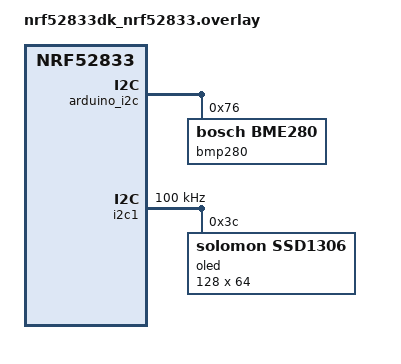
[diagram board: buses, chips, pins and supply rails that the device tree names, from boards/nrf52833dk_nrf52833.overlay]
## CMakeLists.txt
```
cmake_minimum_required(VERSION 3.20.0)
find_package(Zephyr REQUIRED HINTS $ENV{ZEPHYR_BASE})

project(project)

file(GLOB APP_SOURCES CONFIGURE_DEPENDS
    "${CMAKE_CURRENT_SOURCE_DIR}/src/*.c"
)

target_sources(app PRIVATE ${APP_SOURCES})
```

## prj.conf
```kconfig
CONFIG_GPIO=y
CONFIG_CONSOLE=y
CONFIG_SERIAL=y
CONFIG_STDOUT_CONSOLE=y
CONFIG_SENSOR=y
CONFIG_I2C=y
CONFIG_BME280=y
CONFIG_DISPLAY=y
CONFIG_SSD1306=y
CONFIG_CHARACTER_FRAMEBUFFER=y
# CFB allocates a 1024-byte buffer for the 128x64 monochrome display.
CONFIG_HEAP_MEM_POOL_SIZE=4096
#CONFIG_LOG=y
#CONFIG_DISPLAY_LOG_LEVEL_DBG=y
# Enable Bluetooth
CONFIG_BT=y
CONFIG_BT_PERIPHERAL=y
CONFIG_BT_DEVICE_NAME="TempSensor"
CONFIG_BT_MAX_CONN=1
CONFIG_BT_NUS=y
```

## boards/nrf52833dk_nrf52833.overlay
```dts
/*
 * BMP280 temperature sensor on the DK's Arduino I2C header.
 * "arduino_i2c" is a label for the chip's i2c0 controller; the board file
 * already enabled it with SDA=P0.26, SCL=P0.27. We only add the sensor node.
 *
 * File name matters: Zephyr auto-applies boards/<board>_<soc>.overlay, and our
 * board target is nrf52833dk/nrf52833 (slash -> underscore) => this file name.
 */
/ {
    chosen {
        zephyr,display = &oled;
    };
};

&arduino_i2c {
	status = "okay";

	bmp280@76 {
		compatible = "bosch,bme280";  /* Zephyr's driver for BOTH BMP280 and BME280 */
		reg = <0x76>;                 /* 0x76 if SDO->GND, 0x77 if SDO->3V3 */
	};
};
&spi1 {
    status = "disabled";
};

&i2c1 {
    status = "okay";
    clock-frequency = <100000>;

	oled: ssd1306@3c {
		compatible = "solomon,ssd1306";
		status = "okay";
		reg = <0x3c>;

		width = <128>;
		height = <64>;

		segment-offset = <0>;
		page-offset = <0>;
		display-offset = <0>;
		multiplex-ratio = <63>;

		segment-remap;
		com-invdir;
		prechargep = <0x22>;
	};
};
```

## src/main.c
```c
#include <zephyr/kernel.h>
#include <zephyr/drivers/gpio.h>
#include <stdio.h>

#include <zephyr/bluetooth/bluetooth.h>
#include <bluetooth/services/nus.h>

#include <errno.h>
#include "button.h"
#include "sensor.h"
#include "oled.h"
#include "ble.h"


static const struct gpio_dt_spec leds[] = {
	GPIO_DT_SPEC_GET(DT_ALIAS(led0), gpios),
	GPIO_DT_SPEC_GET(DT_ALIAS(led2), gpios),
	GPIO_DT_SPEC_GET(DT_ALIAS(led3), gpios),
};

int main(void)
{
	for (size_t i = 0; i < ARRAY_SIZE(leds); i++) {
		if (!gpio_is_ready_dt(&leds[i])) {
			printk("LED %u is not ready\n", (unsigned int)i);
			return 0;
		}

		int err = gpio_pin_configure_dt(&leds[i], GPIO_OUTPUT_INACTIVE);
		if (err < 0) {
			printk("LED initialization failed: %d\n", err);
			return 0;
		}
	}

	int err = button_init();
	if (err < 0) {
		printk("Button initialization failed: %d\n", err);
		return 0;
	}

	err = sensor_init();
	if (err < 0) {
		printk("Sensor initialization failed: %d\n", err);
		return 0;
	}

	err = oled_init();
	if (err < 0) {
		printk("Oled initialization failed: %d\n", err);
		return 0;
	}

	err = ble_init();
	if (err < 0) {
		printk("BLE initialization failed: %d\n", err);
		return 0;
	}

	struct sensor_value temperature;
	char text[32];

	while(1) {
		err = k_msgq_get(&temp_queue, &temperature, K_FOREVER);
		if (err != 0) {
			printk("Queue receive failed: %d\n", err);
			continue;
		}

		int hundredths = 
			(int) (sensor_value_to_micro(&temperature) / 10000);
		
		const char *sign = hundredths < 0 ? "-" : "";
		int magnitude = hundredths < 0 ? -hundredths : hundredths;

		snprintf(text, sizeof(text), "%s%d.%02d C",
			 sign, magnitude / 100, magnitude % 100);

		err = write_oled(text);
		if (err < 0) {
			printk("OLED write failed: %d\n", err);
		}

		err = ble_send_text(text);
		if (err < 0 && err != -EAGAIN) {
			printk("BLE send failed: %d\n", err);
		}
	}

	k_sleep(K_FOREVER);
	return 0;
}
```

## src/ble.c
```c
#include <zephyr/kernel.h>
#include <zephyr/bluetooth/bluetooth.h>
#include <bluetooth/services/nus.h>
#include <zephyr/bluetooth/conn.h>

#include <errno.h>
#include <string.h>
#include <zephyr/sys/atomic.h>
#include "ble.h"

static const struct bt_data advertising_data[] = {
    // Generally discoverable, bluetooth classic unsupported
	BT_DATA_BYTES(BT_DATA_FLAGS,
		      BT_LE_AD_GENERAL | BT_LE_AD_NO_BREDR),
	BT_DATA(BT_DATA_NAME_COMPLETE,
		CONFIG_BT_DEVICE_NAME,
		sizeof(CONFIG_BT_DEVICE_NAME) - 1),
};

static const struct bt_data scan_response[] = {
	BT_DATA_BYTES(BT_DATA_UUID128_ALL, BT_UUID_NUS_VAL),
};

static atomic_t notifications_enabled;
static atomic_t advertising_requested;

static int start_advertising(void)
{
	int err = bt_le_adv_start(
		BT_LE_ADV_CONN_FAST_2,
		advertising_data, ARRAY_SIZE(advertising_data),
		scan_response, ARRAY_SIZE(scan_response));

	if (err == -EALREADY) {
		return 0;
	}
	if (err < 0) {
		printk("Advertising failed: %d\n", err);
		return err;
	}
	printk("BLE advertising as %s\n", CONFIG_BT_DEVICE_NAME);
	return 0;
}

static void advertising_work_handler(struct k_work *work);
K_WORK_DELAYABLE_DEFINE(advertising_work, advertising_work_handler);

static void advertising_work_handler(struct k_work *work)
{
	ARG_UNUSED(work);
	if (!atomic_get(&advertising_requested)) {
		return;
	}
	if (start_advertising() < 0) {
		k_work_reschedule(&advertising_work, K_SECONDS(1));
	}
}

static void recycled(void)
{
	/* The old connection slot is now free; restart from thread context. */
	if (atomic_get(&advertising_requested)) {
		k_work_reschedule(&advertising_work, K_NO_WAIT);
	}
}

static void send_enabled(enum bt_nus_send_status status)
{
	bool enabled = (status == BT_NUS_SEND_STATUS_ENABLED);

	atomic_set(&notifications_enabled, enabled);
	printk("BLE notifications %s\n", enabled ? "enabled" : "disabled");
}

static struct bt_nus_cb nus_callbacks = {
	.send_enabled = send_enabled,
};

static void disconnected(struct bt_conn *conn, uint8_t reason)
{
	ARG_UNUSED(conn);

	atomic_clear(&notifications_enabled);
	atomic_set(&advertising_requested, 1);
	printk("Disconnected: %u\n", reason);
}

static void connected(struct bt_conn *conn, uint8_t err)
{
	ARG_UNUSED(conn);

	if (err != 0) {
		printk("Connection failed: %u\n", err);
		return;
	}

	atomic_clear(&advertising_requested);
	printk("Connected\n");
}

BT_CONN_CB_DEFINE(connection_callbacks) = {
	.connected = connected,
	.disconnected = disconnected,
	.recycled = recycled,
};

int ble_init(void)
{
	int err = bt_enable(NULL);
	if (err < 0) {
		printk("Bluetooth initialization failed: %d\n", err);
		return err;
	}

	err = bt_nus_init(&nus_callbacks);
	if (err < 0) {
		printk("NUS initialization failed: %d\n", err);
		return err;
	}

	atomic_set(&advertising_requested, 1);
	return start_advertising();
}

int ble_send_text(const char *text)
{
	if (text == NULL) {
		return -EINVAL;
	}

	if (!atomic_get(&notifications_enabled)) {
		return -EAGAIN;
	}

	size_t length = strlen(text);

	/* Fits the default BLE notification payload. */
	if (length > 20) {
		return -EMSGSIZE;
	}

	return bt_nus_send(NULL, (const uint8_t *)text,
			   (uint16_t)length);
}
```

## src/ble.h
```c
#ifndef APP_BLE_H
#define APP_BLE_H

/* Initialize Bluetooth, NUS, and connectable advertising. */
int ble_init(void);
int ble_send_text(const char *text);

#endif
```

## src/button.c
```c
#include <errno.h>
#include <zephyr/kernel.h>
#include <zephyr/drivers/gpio.h>

#include "button.h"

static const struct gpio_dt_spec button0 = GPIO_DT_SPEC_GET(DT_ALIAS(sw0), gpios);
static const struct gpio_dt_spec led1 = GPIO_DT_SPEC_GET(DT_ALIAS(led1), gpios);
static struct gpio_callback button_cb_data;
static struct k_work_delayable button_work;

static void button_work_handler(struct k_work *work)
{
	ARG_UNUSED(work);
	gpio_pin_toggle_dt(&led1);
	printk("toggled\n");
}

static void button_isr(const struct device *port, struct gpio_callback *cb,
		       gpio_port_pins_t pins)
{
	ARG_UNUSED(port);
	ARG_UNUSED(cb);
	ARG_UNUSED(pins);
	k_work_reschedule(&button_work, K_MSEC(30));
}

int button_init(void)
{
	if (!gpio_is_ready_dt(&button0) || !gpio_is_ready_dt(&led1)) {
		return -ENODEV;
	}

	int err = gpio_pin_configure_dt(&led1, GPIO_OUTPUT_INACTIVE);
	if (err < 0) {
		return err;
	}

	err = gpio_pin_configure_dt(&button0, GPIO_INPUT);
	if (err < 0) {
		return err;
	}

	k_work_init_delayable(&button_work, button_work_handler);
	gpio_init_callback(&button_cb_data, button_isr, BIT(button0.pin));
	err = gpio_add_callback(button0.port, &button_cb_data);
	if (err < 0) {
		return err;
	}

	err = gpio_pin_interrupt_configure_dt(&button0, GPIO_INT_EDGE_TO_ACTIVE);
	if (err < 0) {
		gpio_remove_callback(button0.port, &button_cb_data);
	}
	return err;
}
```

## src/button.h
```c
#ifndef APP_BUTTON_H
#define APP_BUTTON_H

/* Configure button 0 to toggle LED 1 after a 30 ms debounce delay. */
int button_init(void);

#endif
```

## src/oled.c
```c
#include <errno.h>
#include <zephyr/kernel.h>
#include <zephyr/device.h>
#include <zephyr/drivers/display.h>
#include <zephyr/display/cfb.h>
#include <zephyr/sys/printk.h>
#include <stdio.h>


#include "oled.h"

static const struct device *const display =
	DEVICE_DT_GET(DT_CHOSEN(zephyr_display));
static bool initialized;

int write_oled(const char *text)
{
	if (!initialized) {
		return -ENODEV;
	}

	int ret = cfb_framebuffer_clear(display, false);
	if (ret < 0) {
		return ret;
	}

	ret = cfb_print(display, text, 0, 0);
	if (ret < 0) {
		return ret;
	}

	/* Drawing changes the RAM buffer; finalize transfers it to the OLED. */
	return cfb_framebuffer_finalize(display);
}

int oled_init(void)
{
	if (initialized) {
		return 0;
	}

	if (!device_is_ready(display)) {
		printk("OLED is not ready; check power, wiring and I2C address\n");
		return -ENODEV;
	}

	int ret = cfb_framebuffer_init(display);
	if (ret < 0) {
		printk("CFB initialization failed: %d\n", ret);
		return ret;
	}

	ret = cfb_framebuffer_set_font(display, 0);
	if (ret < 0) {
		printk("Font selection failed: %d\n", ret);
		goto cleanup;
	}

	ret = cfb_framebuffer_clear(display, true);
	if (ret < 0) {
		goto cleanup;
	}

	ret = display_blanking_off(display);
	if (ret < 0) {
		printk("Turning display on failed: %d\n", ret);
		goto cleanup;
	}

	initialized = true;
	return 0;

cleanup:
	cfb_framebuffer_deinit(display);
	return ret;
}
```

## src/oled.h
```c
#ifndef APP_OLED_H
#define APP_OLED_H

/* Draw the greeting; oled_init() must succeed first. Returns 0 or an error. */
int write_oled(const char *text);
int oled_init(void);

#endif
```

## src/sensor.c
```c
#include "sensor.h"

K_MSGQ_DEFINE(temp_queue, sizeof(struct sensor_value), 4, 4);

static const struct device *const bmp280 = DEVICE_DT_GET_ANY(bosch_bme280);
static struct k_work_delayable sensor_work;

static void read_sensor(void)
{
	struct sensor_value temp;

	int err = sensor_sample_fetch(bmp280);
	if (err < 0) {
		printk("Sensor fetch failed: %d\n", err);
		return;
	}

	err = sensor_channel_get(bmp280, SENSOR_CHAN_AMBIENT_TEMP, &temp);
	if (err < 0) {
		printk("Temperature read failed: %d\n", err);
		return;
	}

	//printk("temp: %d.%02d C\n", temp.val1, temp.val2);

	err = k_msgq_put(&temp_queue, &temp, K_NO_WAIT);
	if (err != 0) {
		printk("Reading queue full; dropping reading\n");
	}
}

static void sensor_work_handler(struct k_work *work)
{
	ARG_UNUSED(work);
	read_sensor();
	k_work_reschedule(&sensor_work, K_SECONDS(2));
}

int sensor_init(void)
{
	if (bmp280 == NULL) {
		printk("No BMP280 device found\n");
		return -ENODEV;
	}

	if (!device_is_ready(bmp280)) {
		printk("BMP280 device is not ready\n");
		return -ENODEV;
	}

	k_work_init_delayable(&sensor_work, sensor_work_handler);
	k_work_schedule(&sensor_work, K_SECONDS(2));
	return 0;
}
```

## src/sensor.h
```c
#ifndef APP_SENSOR_H
#define APP_SENSOR_H

#include <errno.h>
#include <zephyr/kernel.h>
#include <zephyr/device.h>
#include <zephyr/drivers/sensor.h>


extern struct k_msgq temp_queue;

int sensor_init(void);

#endif
```
